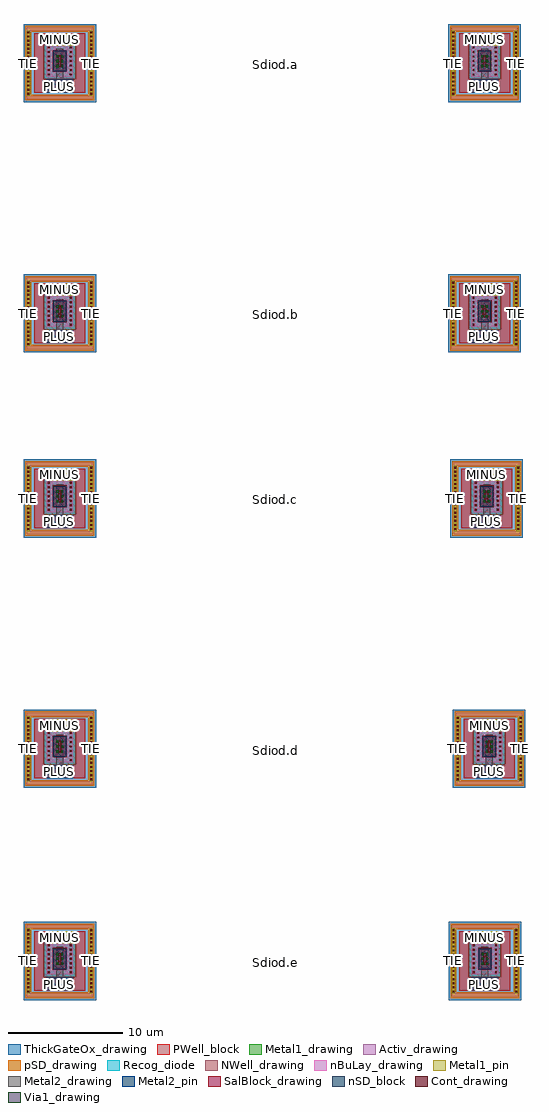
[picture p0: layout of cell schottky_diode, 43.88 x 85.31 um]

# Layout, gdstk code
import gdstk
lib = gdstk.Library(unit=1e-6, precision=1e-09)
def R(c, l, rs):  # rectangles x0, y0, x1, y1
    for r in rs: c.add(gdstk.rectangle(r[:2], r[2:], *l))
def A(c, l, x, y, w, h, nx, ny, dx, dy):  # array of equal rectangles
    R(c, l, [(x+i*dx, y+j*dy, x+i*dx+w, y+j*dy+h) for i in range(nx) for j in range(ny)])
Activ_drawing = (1, 0)
Cont_drawing = (6, 0)
nSD_block = (7, 21)
Metal1_drawing = (8, 0)
Metal1_pin = (8, 2)
Metal2_drawing = (10, 0)
Metal2_pin = (10, 2)
pSD_drawing = (14, 0)
Via1_drawing = (19, 0)
SalBlock_drawing = (28, 0)
NWell_drawing = (31, 0)
nBuLay_drawing = (32, 0)
ThickGateOx_drawing = (44, 0)
PWell_block = (46, 21)
Recog_diode = (99, 31)

schottky_diode = lib.new_cell('schottky_diode')
R(schottky_diode, Activ_drawing, [(-21.765,-90.29,-15.965,-89.99), (15.395,-90.29,21.195,-89.99), (-21.765,-89.99,-21.465,-84.29), (-16.265,-89.99,-15.965,-84.29), (15.395,-89.99,15.695,-84.29), (20.895,-89.99,21.195,-84.29), (-20.015,-88.31,-17.715,-85.61), (17.145,-88.31,19.445,-85.61), (-21.765,-84.29,-15.965,-83.99), (15.395,-84.29,21.195,-83.99), (-21.765,-71.74,-15.965,-71.44), (15.77,-71.74,21.57,-71.44), (-21.765,-71.44,-21.465,-65.74), (-16.265,-71.44,-15.965,-65.74), (15.77,-71.44,16.07,-65.74), (21.27,-71.44,21.57,-65.74), (-20.015,-69.76,-17.715,-67.06), (17.52,-69.76,19.82,-67.06), (-21.765,-65.74,-15.965,-65.44), (15.77,-65.74,21.57,-65.44), (-21.765,-49.87,-15.965,-49.57), (15.55,-49.87,21.35,-49.57), (-21.765,-49.57,-21.465,-43.87), (-16.265,-49.57,-15.965,-43.87), (15.55,-49.57,15.85,-43.87), (21.05,-49.57,21.35,-43.87), (-20.015,-47.89,-17.715,-45.19), (17.3,-47.89,19.6,-45.19), (-21.765,-43.87,-15.965,-43.57), (15.55,-43.87,21.35,-43.57), (-21.765,-33.695,-15.965,-33.395), (15.37,-33.695,21.17,-33.395), (-21.765,-33.395,-21.465,-27.695), (-16.265,-33.395,-15.965,-27.695), (15.37,-33.395,15.67,-27.695), (20.87,-33.395,21.17,-27.695), (-20.015,-31.715,-17.715,-29.015), (17.12,-31.715,19.42,-29.015), (-21.765,-27.695,-15.965,-27.395), (15.37,-27.695,21.17,-27.395), (-21.765,-11.825,-15.965,-11.525), (15.365,-11.825,21.165,-11.525), (-21.765,-11.525,-21.465,-5.825), (-16.265,-11.525,-15.965,-5.825), (15.365,-11.525,15.665,-5.825), (20.865,-11.525,21.165,-5.825), (-20.015,-9.845,-17.715,-7.145), (17.115,-9.845,19.415,-7.145), (-21.765,-5.825,-15.965,-5.525), (15.365,-5.825,21.165,-5.525)])
A(schottky_diode, Cont_drawing, -21.695, -89.9, 0.16, 0.16, 1, 8, 0, 0.36)
A(schottky_diode, Cont_drawing, -16.195, -89.9, 0.16, 0.16, 1, 8, 0, 0.36)
A(schottky_diode, Cont_drawing, 15.465, -89.9, 0.16, 0.16, 1, 8, 0, 0.36)
A(schottky_diode, Cont_drawing, 20.965, -89.9, 0.16, 0.16, 1, 8, 0, 0.36)
A(schottky_diode, Cont_drawing, -19.915, -88.22, 0.16, 0.16, 1, 5, 0, 0.395)
A(schottky_diode, Cont_drawing, -17.975, -88.22, 0.16, 0.16, 1, 5, 0, 0.395)
A(schottky_diode, Cont_drawing, 17.245, -88.22, 0.16, 0.16, 1, 5, 0, 0.395)
A(schottky_diode, Cont_drawing, 19.185, -88.22, 0.16, 0.16, 1, 5, 0, 0.395)
A(schottky_diode, Cont_drawing, -21.695, -87.025, 0.16, 0.16, 1, 8, 0, 0.355)
A(schottky_diode, Cont_drawing, -16.195, -87.025, 0.16, 0.16, 1, 8, 0, 0.355)
A(schottky_diode, Cont_drawing, 15.465, -87.025, 0.16, 0.16, 1, 8, 0, 0.355)
A(schottky_diode, Cont_drawing, 20.965, -87.025, 0.16, 0.16, 1, 8, 0, 0.355)
A(schottky_diode, Cont_drawing, -21.695, -71.35, 0.16, 0.16, 1, 8, 0, 0.36)
A(schottky_diode, Cont_drawing, -16.195, -71.35, 0.16, 0.16, 1, 8, 0, 0.36)
A(schottky_diode, Cont_drawing, 15.84, -71.35, 0.16, 0.16, 1, 8, 0, 0.36)
A(schottky_diode, Cont_drawing, 21.34, -71.35, 0.16, 0.16, 1, 8, 0, 0.36)
A(schottky_diode, Cont_drawing, -19.915, -69.67, 0.16, 0.16, 1, 5, 0, 0.395)
A(schottky_diode, Cont_drawing, -17.975, -69.67, 0.16, 0.16, 1, 5, 0, 0.395)
A(schottky_diode, Cont_drawing, 17.62, -69.67, 0.16, 0.16, 1, 5, 0, 0.395)
A(schottky_diode, Cont_drawing, 19.56, -69.67, 0.16, 0.16, 1, 5, 0, 0.395)
A(schottky_diode, Cont_drawing, -21.695, -68.475, 0.16, 0.16, 1, 8, 0, 0.355)
A(schottky_diode, Cont_drawing, -16.195, -68.475, 0.16, 0.16, 1, 8, 0, 0.355)
A(schottky_diode, Cont_drawing, 15.84, -68.475, 0.16, 0.16, 1, 8, 0, 0.355)
A(schottky_diode, Cont_drawing, 21.34, -68.475, 0.16, 0.16, 1, 8, 0, 0.355)
A(schottky_diode, Cont_drawing, -21.695, -49.48, 0.16, 0.16, 1, 8, 0, 0.36)
A(schottky_diode, Cont_drawing, -16.195, -49.48, 0.16, 0.16, 1, 8, 0, 0.36)
A(schottky_diode, Cont_drawing, 15.62, -49.48, 0.16, 0.16, 1, 8, 0, 0.36)
A(schottky_diode, Cont_drawing, 21.12, -49.48, 0.16, 0.16, 1, 8, 0, 0.36)
A(schottky_diode, Cont_drawing, -19.915, -47.8, 0.16, 0.16, 1, 5, 0, 0.395)
A(schottky_diode, Cont_drawing, -17.975, -47.8, 0.16, 0.16, 1, 5, 0, 0.395)
A(schottky_diode, Cont_drawing, 17.4, -47.8, 0.16, 0.16, 1, 5, 0, 0.395)
A(schottky_diode, Cont_drawing, 19.34, -47.8, 0.16, 0.16, 1, 5, 0, 0.395)
A(schottky_diode, Cont_drawing, -21.695, -46.605, 0.16, 0.16, 1, 8, 0, 0.355)
A(schottky_diode, Cont_drawing, -16.195, -46.605, 0.16, 0.16, 1, 8, 0, 0.355)
A(schottky_diode, Cont_drawing, 15.62, -46.605, 0.16, 0.16, 1, 8, 0, 0.355)
A(schottky_diode, Cont_drawing, 21.12, -46.605, 0.16, 0.16, 1, 8, 0, 0.355)
A(schottky_diode, Cont_drawing, -21.695, -33.305, 0.16, 0.16, 1, 8, 0, 0.36)
A(schottky_diode, Cont_drawing, -16.195, -33.305, 0.16, 0.16, 1, 8, 0, 0.36)
A(schottky_diode, Cont_drawing, 15.44, -33.305, 0.16, 0.16, 1, 8, 0, 0.36)
A(schottky_diode, Cont_drawing, 20.94, -33.305, 0.16, 0.16, 1, 8, 0, 0.36)
A(schottky_diode, Cont_drawing, -19.915, -31.625, 0.16, 0.16, 1, 5, 0, 0.395)
A(schottky_diode, Cont_drawing, -17.975, -31.625, 0.16, 0.16, 1, 5, 0, 0.395)
A(schottky_diode, Cont_drawing, 17.22, -31.625, 0.16, 0.16, 1, 5, 0, 0.395)
A(schottky_diode, Cont_drawing, 19.16, -31.625, 0.16, 0.16, 1, 5, 0, 0.395)
A(schottky_diode, Cont_drawing, -21.695, -30.43, 0.16, 0.16, 1, 8, 0, 0.355)
A(schottky_diode, Cont_drawing, -16.195, -30.43, 0.16, 0.16, 1, 8, 0, 0.355)
A(schottky_diode, Cont_drawing, 15.44, -30.43, 0.16, 0.16, 1, 8, 0, 0.355)
A(schottky_diode, Cont_drawing, 20.94, -30.43, 0.16, 0.16, 1, 8, 0, 0.355)
A(schottky_diode, Cont_drawing, -21.695, -11.435, 0.16, 0.16, 1, 8, 0, 0.36)
A(schottky_diode, Cont_drawing, -16.195, -11.435, 0.16, 0.16, 1, 8, 0, 0.36)
A(schottky_diode, Cont_drawing, 15.435, -11.435, 0.16, 0.16, 1, 8, 0, 0.36)
A(schottky_diode, Cont_drawing, 20.935, -11.435, 0.16, 0.16, 1, 8, 0, 0.36)
A(schottky_diode, Cont_drawing, -19.915, -9.755, 0.16, 0.16, 1, 5, 0, 0.395)
A(schottky_diode, Cont_drawing, -17.975, -9.755, 0.16, 0.16, 1, 5, 0, 0.395)
A(schottky_diode, Cont_drawing, 17.215, -9.755, 0.16, 0.16, 1, 5, 0, 0.395)
A(schottky_diode, Cont_drawing, 19.155, -9.755, 0.16, 0.16, 1, 5, 0, 0.395)
A(schottky_diode, Cont_drawing, -21.695, -8.56, 0.16, 0.16, 1, 8, 0, 0.355)
A(schottky_diode, Cont_drawing, -16.195, -8.56, 0.16, 0.16, 1, 8, 0, 0.355)
A(schottky_diode, Cont_drawing, 15.435, -8.56, 0.16, 0.16, 1, 8, 0, 0.355)
A(schottky_diode, Cont_drawing, 20.935, -8.56, 0.16, 0.16, 1, 8, 0, 0.355)
R(schottky_diode, Cont_drawing, [(-19.015,-87.46,-18.715,-86.46), (18.145,-87.46,18.445,-86.465), (-19.915,-86.25,-19.755,-86.09), (-17.975,-86.25,-17.815,-86.09), (17.245,-86.25,17.405,-86.09), (19.185,-86.25,19.345,-86.09), (-19.915,-85.86,-19.755,-85.7), (-17.975,-85.86,-17.815,-85.7), (17.245,-85.86,17.405,-85.7), (19.185,-85.86,19.345,-85.7), (-19.015,-68.91,-18.715,-67.91), (18.52,-68.91,18.815,-67.91), (-19.915,-67.7,-19.755,-67.54), (-17.975,-67.7,-17.815,-67.54), (17.62,-67.7,17.78,-67.54), (19.56,-67.7,19.72,-67.54), (-19.915,-67.31,-19.755,-67.15), (-17.975,-67.31,-17.815,-67.15), (17.62,-67.31,17.78,-67.15), (19.56,-67.31,19.72,-67.15), (-19.015,-47.04,-18.715,-46.04), (18.3,-47.04,18.6,-46.04), (-19.915,-45.83,-19.755,-45.67), (-17.975,-45.83,-17.815,-45.67), (17.4,-45.83,17.56,-45.67), (19.34,-45.83,19.5,-45.67), (-19.915,-45.44,-19.755,-45.28), (-17.975,-45.44,-17.815,-45.28), (17.4,-45.44,17.56,-45.28), (19.34,-45.44,19.5,-45.28), (-19.015,-30.865,-18.715,-29.865), (18.12,-30.865,18.42,-29.865), (-19.915,-29.655,-19.755,-29.495), (-17.975,-29.655,-17.815,-29.495), (17.22,-29.655,17.38,-29.495), (19.16,-29.655,19.32,-29.495), (-19.915,-29.265,-19.755,-29.105), (-17.975,-29.265,-17.815,-29.105), (17.22,-29.265,17.38,-29.105), (19.16,-29.265,19.32,-29.105), (-19.015,-8.995,-18.715,-7.995), (18.115,-8.995,18.415,-7.995), (-19.915,-7.785,-19.755,-7.625), (-17.975,-7.785,-17.815,-7.625), (17.215,-7.785,17.375,-7.625), (19.155,-7.785,19.315,-7.625), (-19.915,-7.395,-19.755,-7.235), (-17.975,-7.395,-17.815,-7.235), (17.215,-7.395,17.375,-7.235), (19.155,-7.395,19.315,-7.235)])
R(schottky_diode, nSD_block, [(-19.415,-87.86,-18.315,-86.06), (17.745,-87.86,18.845,-86.06), (-19.415,-69.31,-18.315,-67.51), (18.12,-69.31,19.22,-67.51), (-19.415,-47.44,-18.315,-45.64), (17.9,-47.44,19,-45.64), (17.72,-31.27,18.82,-29.46), (-19.415,-31.265,-18.315,-29.465), (-19.415,-9.395,-18.315,-7.595), (17.715,-9.395,18.815,-7.595)])
R(schottky_diode, Metal1_drawing, [(-21.765,-89.99,-21.465,-84.29), (-16.265,-89.99,-15.965,-84.29), (15.395,-89.99,15.695,-84.29), (20.895,-89.99,21.195,-84.29), (-20.015,-88.31,-19.975,-85.61), (-19.975,-88.31,-19.695,-85.61), (-18.035,-88.31,-17.755,-85.61), (-17.755,-88.31,-17.715,-85.61), (17.145,-88.31,17.185,-85.61), (17.185,-88.31,17.465,-85.61), (19.125,-88.31,19.405,-85.61), (19.405,-88.31,19.445,-85.61), (-19.065,-87.53,-18.665,-86.39), (18.095,-87.53,18.495,-86.39), (-20.015,-85.61,-17.715,-84.555), (17.145,-85.61,19.445,-84.555), (-21.765,-71.44,-21.465,-65.74), (-16.265,-71.44,-15.965,-65.74), (15.77,-71.44,16.07,-65.74), (21.27,-71.44,21.57,-65.74), (-20.015,-69.76,-19.975,-67.06), (-19.975,-69.76,-19.695,-67.06), (-18.035,-69.76,-17.755,-67.06), (-17.755,-69.76,-17.715,-67.06), (17.52,-69.76,17.56,-67.06), (17.56,-69.76,17.84,-67.06), (19.5,-69.76,19.78,-67.06), (19.78,-69.76,19.82,-67.06), (-19.065,-68.98,-18.665,-67.84), (18.47,-68.98,18.87,-67.84), (-20.015,-67.06,-17.715,-66.005), (17.52,-67.06,19.82,-66.005), (-21.765,-49.57,-21.465,-43.87), (-16.265,-49.57,-15.965,-43.87), (15.55,-49.57,15.85,-43.87), (21.05,-49.57,21.35,-43.87), (-20.015,-47.89,-19.975,-45.19), (-19.975,-47.89,-19.695,-45.19), (-18.035,-47.89,-17.755,-45.19), (-17.755,-47.89,-17.715,-45.19), (17.3,-47.89,17.34,-45.19), (17.34,-47.89,17.62,-45.19), (19.28,-47.89,19.56,-45.19), (19.56,-47.89,19.6,-45.19), (-19.065,-47.11,-18.665,-45.97), (18.25,-47.11,18.65,-45.97), (-20.015,-45.19,-17.715,-44.135), (17.3,-45.19,19.6,-44.135), (-21.765,-33.395,-21.465,-27.695), (-16.265,-33.395,-15.965,-27.695), (15.37,-33.395,15.67,-27.695), (20.87,-33.395,21.17,-27.695), (-20.015,-31.715,-19.975,-29.015), (-19.975,-31.715,-19.695,-29.015), (-18.035,-31.715,-17.755,-29.015), (-17.755,-31.715,-17.715,-29.015), (17.12,-31.715,17.16,-29.015), (17.16,-31.715,17.44,-29.015), (19.1,-31.715,19.38,-29.015), (19.38,-31.715,19.42,-29.015), (-19.065,-30.935,-18.665,-29.795), (18.07,-30.935,18.47,-29.795), (-20.015,-29.015,-17.715,-27.96), (17.12,-29.015,19.42,-27.96), (-21.765,-11.525,-21.465,-5.825), (-16.265,-11.525,-15.965,-5.825), (15.365,-11.525,15.665,-5.825), (20.865,-11.525,21.165,-5.825), (-20.015,-9.845,-19.975,-7.145), (-19.975,-9.845,-19.695,-7.145), (-18.035,-9.845,-17.755,-7.145), (-17.755,-9.845,-17.715,-7.145), (17.115,-9.845,17.155,-7.145), (17.155,-9.845,17.435,-7.145), (19.095,-9.845,19.375,-7.145), (19.375,-9.845,19.415,-7.145), (-19.065,-9.065,-18.665,-7.925), (18.065,-9.065,18.465,-7.925), (-20.015,-7.145,-17.715,-6.09), (17.115,-7.145,19.415,-6.09)])
R(schottky_diode, Metal1_pin, [(-21.765,-89.99,-21.465,-84.29), (-16.265,-89.99,-15.965,-84.29), (15.395,-89.99,15.695,-84.29), (20.895,-89.99,21.195,-84.29), (-20.015,-85.61,-17.715,-84.555), (17.145,-85.61,19.445,-84.555), (-21.765,-71.44,-21.465,-65.74), (-16.265,-71.44,-15.965,-65.74), (15.77,-71.44,16.07,-65.74), (21.27,-71.44,21.57,-65.74), (-20.015,-67.06,-17.715,-66.005), (17.52,-67.06,19.82,-66.005), (-21.765,-49.57,-21.465,-43.87), (-16.265,-49.57,-15.965,-43.87), (15.55,-49.57,15.85,-43.87), (21.05,-49.57,21.35,-43.87), (-20.015,-45.19,-17.715,-44.135), (17.3,-45.19,19.6,-44.135), (-21.765,-33.395,-21.465,-27.695), (-16.265,-33.395,-15.965,-27.695), (15.37,-33.395,15.67,-27.695), (20.87,-33.395,21.17,-27.695), (-20.015,-29.015,-17.715,-27.96), (17.12,-29.015,19.42,-27.96), (-21.765,-11.525,-21.465,-5.825), (-16.265,-11.525,-15.965,-5.825), (15.365,-11.525,15.665,-5.825), (20.865,-11.525,21.165,-5.825), (-20.015,-7.145,-17.715,-6.09), (17.115,-7.145,19.415,-6.09)])
R(schottky_diode, Metal2_drawing, [(-20.045,-89.725,-17.685,-88.605), (17.115,-89.725,19.475,-88.605), (-19.17,-88.605,-18.56,-85.905), (17.99,-88.605,18.6,-85.905), (-19.175,-87.49,-18.965,-86.43), (-18.765,-87.49,-18.555,-86.43), (17.985,-87.49,18.195,-86.43), (18.395,-87.49,18.605,-86.43), (-20.045,-71.175,-17.685,-70.055), (17.49,-71.175,19.85,-70.055), (-19.17,-70.055,-18.56,-67.355), (18.365,-70.055,18.975,-67.355), (-19.175,-68.94,-18.965,-67.88), (-18.765,-68.94,-18.555,-67.88), (18.36,-68.94,18.57,-67.88), (18.77,-68.94,18.98,-67.88), (-20.045,-49.305,-17.685,-48.185), (17.27,-49.305,19.63,-48.185), (-19.17,-48.185,-18.56,-45.485), (18.145,-48.185,18.755,-45.485), (-19.175,-47.07,-18.965,-46.01), (-18.765,-47.07,-18.555,-46.01), (18.14,-47.07,18.35,-46.01), (18.55,-47.07,18.76,-46.01), (-20.045,-33.13,-17.685,-32.01), (17.09,-33.13,19.45,-32.01), (-19.17,-32.01,-18.56,-29.31), (17.965,-32.01,18.575,-29.31), (-19.175,-30.895,-18.965,-29.835), (-18.765,-30.895,-18.555,-29.835), (17.96,-30.895,18.17,-29.835), (18.37,-30.895,18.58,-29.835), (-20.045,-11.26,-17.685,-10.14), (17.085,-11.26,19.445,-10.14), (-19.17,-10.14,-18.56,-7.44), (17.96,-10.14,18.57,-7.44), (-19.175,-9.025,-18.965,-7.965), (-18.765,-9.025,-18.555,-7.965), (17.955,-9.025,18.165,-7.965), (18.365,-9.025,18.575,-7.965)])
R(schottky_diode, Metal2_pin, [(-20.045,-89.725,-17.685,-88.605), (17.115,-89.725,19.475,-88.605), (-20.045,-71.175,-17.685,-70.055), (17.49,-71.175,19.85,-70.055), (-20.045,-49.305,-17.685,-48.185), (17.27,-49.305,19.63,-48.185), (-20.045,-33.13,-17.685,-32.01), (17.09,-33.13,19.45,-32.01), (-20.045,-11.26,-17.685,-10.14), (17.085,-11.26,19.445,-10.14)])
R(schottky_diode, pSD_drawing, [(-21.865,-90.39,-15.865,-89.89), (15.295,-90.39,21.295,-89.89), (-21.865,-89.89,-21.365,-84.39), (-16.365,-89.89,-15.865,-84.39), (15.295,-89.89,15.795,-84.39), (20.795,-89.89,21.295,-84.39), (-21.865,-84.39,-15.865,-83.89), (15.295,-84.39,21.295,-83.89), (-21.865,-71.84,-15.865,-71.34), (15.67,-71.84,21.67,-71.34), (-21.865,-71.34,-21.365,-65.84), (-16.365,-71.34,-15.865,-65.84), (15.67,-71.34,16.17,-65.84), (21.17,-71.34,21.67,-65.84), (-21.865,-65.84,-15.865,-65.34), (15.67,-65.84,21.67,-65.34), (-21.865,-49.97,-15.865,-49.47), (15.45,-49.97,21.45,-49.47), (-21.865,-49.47,-21.365,-43.97), (-16.365,-49.47,-15.865,-43.97), (15.45,-49.47,15.95,-43.97), (20.95,-49.47,21.45,-43.97), (-21.865,-43.97,-15.865,-43.47), (15.45,-43.97,21.45,-43.47), (-21.865,-33.795,-15.865,-33.295), (15.27,-33.795,21.27,-33.295), (-21.865,-33.295,-21.365,-27.795), (-16.365,-33.295,-15.865,-27.795), (15.27,-33.295,15.77,-27.795), (20.77,-33.295,21.27,-27.795), (-21.865,-27.795,-15.865,-27.295), (15.27,-27.795,21.27,-27.295), (-21.865,-11.925,-15.865,-11.425), (15.265,-11.925,21.265,-11.425), (-21.865,-11.425,-21.365,-5.925), (-16.365,-11.425,-15.865,-5.925), (15.265,-11.425,15.765,-5.925), (20.765,-11.425,21.265,-5.925), (-21.865,-5.925,-15.865,-5.425), (15.265,-5.925,21.265,-5.425)])
A(schottky_diode, Via1_drawing, -19.165, -87.48, 0.19, 0.19, 1, 3, 0, 0.425)
A(schottky_diode, Via1_drawing, -18.755, -87.48, 0.19, 0.19, 1, 3, 0, 0.425)
A(schottky_diode, Via1_drawing, 17.995, -87.48, 0.19, 0.19, 1, 3, 0, 0.425)
A(schottky_diode, Via1_drawing, 18.405, -87.48, 0.19, 0.19, 1, 3, 0, 0.425)
A(schottky_diode, Via1_drawing, -19.165, -68.93, 0.19, 0.19, 1, 3, 0, 0.425)
A(schottky_diode, Via1_drawing, -18.755, -68.93, 0.19, 0.19, 1, 3, 0, 0.425)
A(schottky_diode, Via1_drawing, 18.37, -68.93, 0.19, 0.19, 1, 3, 0, 0.425)
A(schottky_diode, Via1_drawing, 18.78, -68.93, 0.19, 0.19, 1, 3, 0, 0.425)
A(schottky_diode, Via1_drawing, -19.165, -47.06, 0.19, 0.19, 1, 3, 0, 0.425)
A(schottky_diode, Via1_drawing, -18.755, -47.06, 0.19, 0.19, 1, 3, 0, 0.425)
A(schottky_diode, Via1_drawing, 18.15, -47.06, 0.19, 0.19, 1, 3, 0, 0.425)
A(schottky_diode, Via1_drawing, 18.56, -47.06, 0.19, 0.19, 1, 3, 0, 0.425)
A(schottky_diode, Via1_drawing, -19.165, -30.885, 0.19, 0.19, 1, 3, 0, 0.425)
A(schottky_diode, Via1_drawing, -18.755, -30.885, 0.19, 0.19, 1, 3, 0, 0.425)
A(schottky_diode, Via1_drawing, 17.97, -30.885, 0.19, 0.19, 1, 3, 0, 0.425)
A(schottky_diode, Via1_drawing, 18.38, -30.885, 0.19, 0.19, 1, 3, 0, 0.425)
A(schottky_diode, Via1_drawing, -19.165, -9.015, 0.19, 0.19, 1, 3, 0, 0.425)
A(schottky_diode, Via1_drawing, -18.755, -9.015, 0.19, 0.19, 1, 3, 0, 0.425)
A(schottky_diode, Via1_drawing, 17.965, -9.015, 0.19, 0.19, 1, 3, 0, 0.425)
A(schottky_diode, Via1_drawing, 18.375, -9.015, 0.19, 0.19, 1, 3, 0, 0.425)
R(schottky_diode, SalBlock_drawing, [(-19.465,-87.91,-18.265,-86.01), (17.695,-87.91,18.895,-86.01), (-19.465,-69.36,-18.265,-67.46), (18.07,-69.36,19.27,-67.46), (-19.465,-47.49,-18.265,-45.59), (17.85,-47.49,19.05,-45.58), (-19.465,-31.315,-18.265,-29.415), (17.67,-31.315,18.87,-29.415), (-19.465,-9.445,-18.265,-7.545), (17.665,-9.445,18.865,-7.545)])
R(schottky_diode, NWell_drawing, [(-20.265,-88.56,-17.465,-87.71), (16.895,-88.56,19.695,-87.71), (-20.265,-87.71,-19.265,-86.21), (-18.465,-87.71,-17.465,-86.21), (16.895,-87.71,17.895,-86.21), (18.695,-87.71,19.695,-86.21), (-20.265,-86.21,-17.465,-85.36), (16.895,-86.21,19.695,-85.36), (-20.265,-70.01,-17.465,-69.16), (17.27,-70.01,20.07,-69.16), (-20.265,-69.16,-19.265,-67.66), (-18.465,-69.16,-17.465,-67.66), (17.27,-69.16,18.27,-67.66), (19.07,-69.16,20.07,-67.66), (-20.265,-67.66,-17.465,-66.81), (17.27,-67.66,20.07,-66.81), (-20.265,-48.14,-17.465,-47.29), (17.05,-48.14,19.85,-47.29), (-20.265,-47.29,-19.265,-45.79), (-18.465,-47.29,-17.465,-45.79), (17.05,-47.29,18.05,-45.79), (18.85,-47.29,19.85,-45.79), (-20.265,-45.79,-17.465,-44.94), (17.05,-45.79,19.85,-44.94), (-20.265,-31.965,-17.465,-31.115), (16.87,-31.965,19.67,-31.115), (-20.265,-31.115,-19.265,-29.615), (-18.465,-31.115,-17.465,-29.615), (16.87,-31.115,17.87,-29.615), (18.67,-31.115,19.67,-29.615), (-20.265,-29.615,-17.465,-28.765), (16.87,-29.615,19.67,-28.765), (-20.265,-10.095,-17.465,-9.245), (16.865,-10.095,19.665,-9.245), (-20.265,-9.245,-19.265,-7.745), (-18.465,-9.245,-17.465,-7.745), (16.865,-9.245,17.865,-7.745), (18.66,-9.245,19.665,-7.745), (16.865,-7.75,19.665,-6.895), (-20.265,-7.745,-17.465,-6.895)])
R(schottky_diode, nBuLay_drawing, [(-20.015,-88.33,-17.715,-85.59), (17.145,-88.33,19.445,-85.59), (-20.015,-69.78,-17.715,-67.04), (17.52,-69.78,19.82,-67.04), (-20.015,-47.91,-17.715,-45.17), (17.3,-47.91,19.6,-45.17), (-20.015,-31.735,-17.715,-28.995), (17.12,-31.735,19.42,-28.995), (-20.015,-9.865,-17.715,-7.125), (17.115,-9.865,19.415,-7.125)])
R(schottky_diode, ThickGateOx_drawing, [(-22.035,-90.56,-15.695,-83.72), (15.125,-90.56,21.465,-83.72), (-22.035,-72.01,-15.695,-65.17), (15.5,-72.01,21.84,-65.17), (-22.035,-50.14,-15.695,-43.3), (15.28,-50.14,21.62,-43.3), (-22.035,-33.965,-15.695,-27.125), (15.1,-33.965,21.44,-27.125), (-22.035,-12.095,-15.695,-5.255), (15.095,-12.095,21.435,-5.255)])
R(schottky_diode, PWell_block, [(-21.095,-89.75,-16.635,-88.56), (16.065,-89.75,20.525,-88.56), (-21.095,-88.56,-20.265,-85.36), (-17.465,-88.56,-16.635,-85.36), (16.065,-88.56,16.895,-85.36), (19.695,-88.56,20.525,-85.36), (-19.265,-87.71,-18.465,-86.21), (17.895,-87.71,18.695,-86.21), (-21.095,-85.36,-16.635,-84.53), (16.065,-85.36,20.525,-84.53), (-21.095,-71.2,-16.635,-70.01), (16.44,-71.2,20.9,-70.01), (-21.095,-70.01,-20.265,-66.81), (-17.465,-70.01,-16.635,-66.81), (16.44,-70.01,17.27,-66.81), (20.07,-70.01,20.9,-66.81), (-19.265,-69.16,-18.465,-67.66), (18.27,-69.16,19.07,-67.66), (-21.095,-66.81,-16.635,-65.98), (16.44,-66.81,20.9,-65.98), (-21.095,-49.33,-16.635,-48.14), (16.22,-49.33,20.68,-48.14), (-21.095,-48.14,-20.265,-44.94), (-17.465,-48.14,-16.635,-44.94), (16.22,-48.14,17.05,-44.94), (19.85,-48.14,20.68,-44.94), (-19.265,-47.29,-18.465,-45.79), (18.05,-47.29,18.85,-45.79), (-21.095,-44.94,-16.635,-44.11), (16.22,-44.94,20.68,-44.11), (-21.095,-33.155,-16.635,-31.965), (16.04,-33.155,20.5,-31.965), (-21.095,-31.965,-20.265,-28.765), (-17.465,-31.965,-16.635,-28.765), (16.04,-31.965,16.87,-28.765), (19.67,-31.965,20.5,-28.765), (-19.265,-31.115,-18.465,-29.615), (17.87,-31.115,18.67,-29.615), (-21.095,-28.765,-16.635,-27.935), (16.04,-28.765,20.5,-27.935), (-21.095,-11.285,-16.635,-10.095), (16.035,-11.285,20.495,-10.095), (-21.095,-10.095,-20.265,-6.895), (-17.465,-10.095,-16.635,-6.895), (16.035,-10.095,16.865,-6.895), (19.665,-10.095,20.495,-6.895), (17.87,-9.25,18.66,-7.74), (-19.265,-9.245,-18.465,-7.745), (-21.095,-6.895,-16.635,-6.065), (16.035,-6.895,20.495,-6.065)])
R(schottky_diode, Recog_diode, [(-20.265,-88.56,-17.465,-85.36), (16.895,-88.56,19.695,-85.36), (-20.265,-70.01,-17.465,-66.81), (17.27,-70.01,20.07,-66.81), (-20.265,-48.14,-17.465,-44.94), (17.05,-48.14,19.85,-44.94), (-20.265,-31.965,-17.465,-28.765), (16.87,-31.965,19.67,-28.765), (-20.265,-10.095,-17.465,-6.895), (16.865,-10.095,19.665,-6.895)])
schottky_diode.add(gdstk.FlexPath([(-19.07,-87.49),(-19.07,-86.43)], 0.21, ends="flush", simple_path=True, layer=10, datatype=0))  # Metal2_drawing
schottky_diode.add(gdstk.FlexPath([(-18.66,-87.49),(-18.66,-86.43)], 0.21, ends="flush", simple_path=True, layer=10, datatype=0))  # Metal2_drawing
schottky_diode.add(gdstk.FlexPath([(-19.07,-68.94),(-19.07,-67.88)], 0.21, ends="flush", simple_path=True, layer=10, datatype=0))  # Metal2_drawing
schottky_diode.add(gdstk.FlexPath([(-18.66,-68.94),(-18.66,-67.88)], 0.21, ends="flush", simple_path=True, layer=10, datatype=0))  # Metal2_drawing
schottky_diode.add(gdstk.FlexPath([(-19.07,-47.07),(-19.07,-46.01)], 0.21, ends="flush", simple_path=True, layer=10, datatype=0))  # Metal2_drawing
schottky_diode.add(gdstk.FlexPath([(-18.66,-47.07),(-18.66,-46.01)], 0.21, ends="flush", simple_path=True, layer=10, datatype=0))  # Metal2_drawing
schottky_diode.add(gdstk.FlexPath([(-19.07,-30.895),(-19.07,-29.835)], 0.21, ends="flush", simple_path=True, layer=10, datatype=0))  # Metal2_drawing
schottky_diode.add(gdstk.FlexPath([(-18.66,-30.895),(-18.66,-29.835)], 0.21, ends="flush", simple_path=True, layer=10, datatype=0))  # Metal2_drawing
schottky_diode.add(gdstk.FlexPath([(-19.07,-9.025),(-19.07,-7.965)], 0.21, ends="flush", simple_path=True, layer=10, datatype=0))  # Metal2_drawing
schottky_diode.add(gdstk.FlexPath([(-18.66,-9.025),(-18.66,-7.965)], 0.21, ends="flush", simple_path=True, layer=10, datatype=0))  # Metal2_drawing
schottky_diode.add(gdstk.FlexPath([(18.06,-9.025),(18.06,-7.965)], 0.21, ends="flush", simple_path=True, layer=10, datatype=0))  # Metal2_drawing
schottky_diode.add(gdstk.FlexPath([(18.47,-9.025),(18.47,-7.965)], 0.21, ends="flush", simple_path=True, layer=10, datatype=0))  # Metal2_drawing
schottky_diode.add(gdstk.FlexPath([(18.065,-30.895),(18.065,-29.835)], 0.21, ends="flush", simple_path=True, layer=10, datatype=0))  # Metal2_drawing
schottky_diode.add(gdstk.FlexPath([(18.475,-30.895),(18.475,-29.835)], 0.21, ends="flush", simple_path=True, layer=10, datatype=0))  # Metal2_drawing
schottky_diode.add(gdstk.FlexPath([(18.245,-47.07),(18.245,-46.01)], 0.21, ends="flush", simple_path=True, layer=10, datatype=0))  # Metal2_drawing
schottky_diode.add(gdstk.FlexPath([(18.655,-47.07),(18.655,-46.01)], 0.21, ends="flush", simple_path=True, layer=10, datatype=0))  # Metal2_drawing
schottky_diode.add(gdstk.FlexPath([(18.465,-68.94),(18.465,-67.88)], 0.21, ends="flush", simple_path=True, layer=10, datatype=0))  # Metal2_drawing
schottky_diode.add(gdstk.FlexPath([(18.875,-68.94),(18.875,-67.88)], 0.21, ends="flush", simple_path=True, layer=10, datatype=0))  # Metal2_drawing
schottky_diode.add(gdstk.FlexPath([(18.09,-87.49),(18.09,-86.43)], 0.21, ends="flush", simple_path=True, layer=10, datatype=0))  # Metal2_drawing
schottky_diode.add(gdstk.FlexPath([(18.5,-87.49),(18.5,-86.43)], 0.21, ends="flush", simple_path=True, layer=10, datatype=0))  # Metal2_drawing
schottky_diode.add(gdstk.FlexPath([(-19.07,-87.53),(-19.07,-86.39)], 0.29, ends="flush", simple_path=True, layer=8, datatype=0))  # Metal1_drawing
schottky_diode.add(gdstk.FlexPath([(-18.66,-87.53),(-18.66,-86.39)], 0.29, ends="flush", simple_path=True, layer=8, datatype=0))  # Metal1_drawing
schottky_diode.add(gdstk.FlexPath([(-19.835,-88.31),(-19.835,-85.61)], 0.28, ends="flush", simple_path=True, layer=8, datatype=0))  # Metal1_drawing
schottky_diode.add(gdstk.FlexPath([(-17.895,-88.31),(-17.895,-85.61)], 0.28, ends="flush", simple_path=True, layer=8, datatype=0))  # Metal1_drawing
schottky_diode.add(gdstk.FlexPath([(-21.615,-89.99),(-21.615,-84.29)], 0.3, ends="flush", simple_path=True, layer=8, datatype=0))  # Metal1_drawing
schottky_diode.add(gdstk.FlexPath([(-16.115,-89.99),(-16.115,-84.29)], 0.3, ends="flush", simple_path=True, layer=8, datatype=0))  # Metal1_drawing
schottky_diode.add(gdstk.FlexPath([(-19.07,-68.98),(-19.07,-67.84)], 0.29, ends="flush", simple_path=True, layer=8, datatype=0))  # Metal1_drawing
schottky_diode.add(gdstk.FlexPath([(-18.66,-68.98),(-18.66,-67.84)], 0.29, ends="flush", simple_path=True, layer=8, datatype=0))  # Metal1_drawing
schottky_diode.add(gdstk.FlexPath([(-19.835,-69.76),(-19.835,-67.06)], 0.28, ends="flush", simple_path=True, layer=8, datatype=0))  # Metal1_drawing
schottky_diode.add(gdstk.FlexPath([(-17.895,-69.76),(-17.895,-67.06)], 0.28, ends="flush", simple_path=True, layer=8, datatype=0))  # Metal1_drawing
schottky_diode.add(gdstk.FlexPath([(-21.615,-71.44),(-21.615,-65.74)], 0.3, ends="flush", simple_path=True, layer=8, datatype=0))  # Metal1_drawing
schottky_diode.add(gdstk.FlexPath([(-16.115,-71.44),(-16.115,-65.74)], 0.3, ends="flush", simple_path=True, layer=8, datatype=0))  # Metal1_drawing
schottky_diode.add(gdstk.FlexPath([(-19.07,-47.11),(-19.07,-45.97)], 0.29, ends="flush", simple_path=True, layer=8, datatype=0))  # Metal1_drawing
schottky_diode.add(gdstk.FlexPath([(-18.66,-47.11),(-18.66,-45.97)], 0.29, ends="flush", simple_path=True, layer=8, datatype=0))  # Metal1_drawing
schottky_diode.add(gdstk.FlexPath([(-19.835,-47.89),(-19.835,-45.19)], 0.28, ends="flush", simple_path=True, layer=8, datatype=0))  # Metal1_drawing
schottky_diode.add(gdstk.FlexPath([(-17.895,-47.89),(-17.895,-45.19)], 0.28, ends="flush", simple_path=True, layer=8, datatype=0))  # Metal1_drawing
schottky_diode.add(gdstk.FlexPath([(-21.615,-49.57),(-21.615,-43.87)], 0.3, ends="flush", simple_path=True, layer=8, datatype=0))  # Metal1_drawing
schottky_diode.add(gdstk.FlexPath([(-16.115,-49.57),(-16.115,-43.87)], 0.3, ends="flush", simple_path=True, layer=8, datatype=0))  # Metal1_drawing
schottky_diode.add(gdstk.FlexPath([(-19.07,-30.935),(-19.07,-29.795)], 0.29, ends="flush", simple_path=True, layer=8, datatype=0))  # Metal1_drawing
schottky_diode.add(gdstk.FlexPath([(-18.66,-30.935),(-18.66,-29.795)], 0.29, ends="flush", simple_path=True, layer=8, datatype=0))  # Metal1_drawing
schottky_diode.add(gdstk.FlexPath([(-19.835,-31.715),(-19.835,-29.015)], 0.28, ends="flush", simple_path=True, layer=8, datatype=0))  # Metal1_drawing
schottky_diode.add(gdstk.FlexPath([(-17.895,-31.715),(-17.895,-29.015)], 0.28, ends="flush", simple_path=True, layer=8, datatype=0))  # Metal1_drawing
schottky_diode.add(gdstk.FlexPath([(-21.615,-33.395),(-21.615,-27.695)], 0.3, ends="flush", simple_path=True, layer=8, datatype=0))  # Metal1_drawing
schottky_diode.add(gdstk.FlexPath([(-16.115,-33.395),(-16.115,-27.695)], 0.3, ends="flush", simple_path=True, layer=8, datatype=0))  # Metal1_drawing
schottky_diode.add(gdstk.FlexPath([(-19.07,-9.065),(-19.07,-7.925)], 0.29, ends="flush", simple_path=True, layer=8, datatype=0))  # Metal1_drawing
schottky_diode.add(gdstk.FlexPath([(-18.66,-9.065),(-18.66,-7.925)], 0.29, ends="flush", simple_path=True, layer=8, datatype=0))  # Metal1_drawing
schottky_diode.add(gdstk.FlexPath([(-19.835,-9.845),(-19.835,-7.145)], 0.28, ends="flush", simple_path=True, layer=8, datatype=0))  # Metal1_drawing
schottky_diode.add(gdstk.FlexPath([(-17.895,-9.845),(-17.895,-7.145)], 0.28, ends="flush", simple_path=True, layer=8, datatype=0))  # Metal1_drawing
schottky_diode.add(gdstk.FlexPath([(-21.615,-11.525),(-21.615,-5.825)], 0.3, ends="flush", simple_path=True, layer=8, datatype=0))  # Metal1_drawing
schottky_diode.add(gdstk.FlexPath([(-16.115,-11.525),(-16.115,-5.825)], 0.3, ends="flush", simple_path=True, layer=8, datatype=0))  # Metal1_drawing
schottky_diode.add(gdstk.FlexPath([(19.235,-9.845),(19.235,-7.145)], 0.28, ends="flush", simple_path=True, layer=8, datatype=0))  # Metal1_drawing
schottky_diode.add(gdstk.FlexPath([(18.47,-9.065),(18.47,-7.925)], 0.29, ends="flush", simple_path=True, layer=8, datatype=0))  # Metal1_drawing
schottky_diode.add(gdstk.FlexPath([(18.06,-9.065),(18.06,-7.925)], 0.29, ends="flush", simple_path=True, layer=8, datatype=0))  # Metal1_drawing
schottky_diode.add(gdstk.FlexPath([(17.295,-9.845),(17.295,-7.145)], 0.28, ends="flush", simple_path=True, layer=8, datatype=0))  # Metal1_drawing
schottky_diode.add(gdstk.FlexPath([(15.515,-11.525),(15.515,-5.825)], 0.3, ends="flush", simple_path=True, layer=8, datatype=0))  # Metal1_drawing
schottky_diode.add(gdstk.FlexPath([(21.015,-11.525),(21.015,-5.825)], 0.3, ends="flush", simple_path=True, layer=8, datatype=0))  # Metal1_drawing
schottky_diode.add(gdstk.FlexPath([(15.52,-33.395),(15.52,-27.695)], 0.3, ends="flush", simple_path=True, layer=8, datatype=0))  # Metal1_drawing
schottky_diode.add(gdstk.FlexPath([(17.3,-31.715),(17.3,-29.015)], 0.28, ends="flush", simple_path=True, layer=8, datatype=0))  # Metal1_drawing
schottky_diode.add(gdstk.FlexPath([(18.065,-30.935),(18.065,-29.795)], 0.29, ends="flush", simple_path=True, layer=8, datatype=0))  # Metal1_drawing
schottky_diode.add(gdstk.FlexPath([(18.475,-30.935),(18.475,-29.795)], 0.29, ends="flush", simple_path=True, layer=8, datatype=0))  # Metal1_drawing
schottky_diode.add(gdstk.FlexPath([(19.24,-31.715),(19.24,-29.015)], 0.28, ends="flush", simple_path=True, layer=8, datatype=0))  # Metal1_drawing
schottky_diode.add(gdstk.FlexPath([(21.02,-33.395),(21.02,-27.695)], 0.3, ends="flush", simple_path=True, layer=8, datatype=0))  # Metal1_drawing
schottky_diode.add(gdstk.FlexPath([(15.7,-49.57),(15.7,-43.87)], 0.3, ends="flush", simple_path=True, layer=8, datatype=0))  # Metal1_drawing
schottky_diode.add(gdstk.FlexPath([(17.48,-47.89),(17.48,-45.19)], 0.28, ends="flush", simple_path=True, layer=8, datatype=0))  # Metal1_drawing
schottky_diode.add(gdstk.FlexPath([(18.245,-47.11),(18.245,-45.97)], 0.29, ends="flush", simple_path=True, layer=8, datatype=0))  # Metal1_drawing
schottky_diode.add(gdstk.FlexPath([(18.655,-47.11),(18.655,-45.97)], 0.29, ends="flush", simple_path=True, layer=8, datatype=0))  # Metal1_drawing
schottky_diode.add(gdstk.FlexPath([(19.42,-47.89),(19.42,-45.19)], 0.28, ends="flush", simple_path=True, layer=8, datatype=0))  # Metal1_drawing
schottky_diode.add(gdstk.FlexPath([(21.2,-49.57),(21.2,-43.87)], 0.3, ends="flush", simple_path=True, layer=8, datatype=0))  # Metal1_drawing
schottky_diode.add(gdstk.FlexPath([(15.92,-71.44),(15.92,-65.74)], 0.3, ends="flush", simple_path=True, layer=8, datatype=0))  # Metal1_drawing
schottky_diode.add(gdstk.FlexPath([(17.7,-69.76),(17.7,-67.06)], 0.28, ends="flush", simple_path=True, layer=8, datatype=0))  # Metal1_drawing
schottky_diode.add(gdstk.FlexPath([(18.465,-68.98),(18.465,-67.84)], 0.29, ends="flush", simple_path=True, layer=8, datatype=0))  # Metal1_drawing
schottky_diode.add(gdstk.FlexPath([(18.875,-68.98),(18.875,-67.84)], 0.29, ends="flush", simple_path=True, layer=8, datatype=0))  # Metal1_drawing
schottky_diode.add(gdstk.FlexPath([(19.64,-69.76),(19.64,-67.06)], 0.28, ends="flush", simple_path=True, layer=8, datatype=0))  # Metal1_drawing
schottky_diode.add(gdstk.FlexPath([(21.42,-71.44),(21.42,-65.74)], 0.3, ends="flush", simple_path=True, layer=8, datatype=0))  # Metal1_drawing
schottky_diode.add(gdstk.FlexPath([(15.545,-89.99),(15.545,-84.29)], 0.3, ends="flush", simple_path=True, layer=8, datatype=0))  # Metal1_drawing
schottky_diode.add(gdstk.FlexPath([(17.325,-88.31),(17.325,-85.61)], 0.28, ends="flush", simple_path=True, layer=8, datatype=0))  # Metal1_drawing
schottky_diode.add(gdstk.FlexPath([(18.09,-87.53),(18.09,-86.39)], 0.29, ends="flush", simple_path=True, layer=8, datatype=0))  # Metal1_drawing
schottky_diode.add(gdstk.FlexPath([(18.5,-87.53),(18.5,-86.39)], 0.29, ends="flush", simple_path=True, layer=8, datatype=0))  # Metal1_drawing
schottky_diode.add(gdstk.FlexPath([(19.265,-88.31),(19.265,-85.61)], 0.28, ends="flush", simple_path=True, layer=8, datatype=0))  # Metal1_drawing
schottky_diode.add(gdstk.FlexPath([(21.045,-89.99),(21.045,-84.29)], 0.3, ends="flush", simple_path=True, layer=8, datatype=0))  # Metal1_drawing
schottky_diode.add(gdstk.Label('PASS', (-12,5), layer=63, texttype=0))
schottky_diode.add(gdstk.Label('Sdiod.a', (0.01,-8.8), layer=63, texttype=0))
schottky_diode.add(gdstk.Label('Sdiod.b', (0.01,-30.67), layer=63, texttype=0))
schottky_diode.add(gdstk.Label('Sdiod.c', (0.01,-46.845), layer=63, texttype=0))
schottky_diode.add(gdstk.Label('Sdiod.d', (0.01,-68.715), layer=63, texttype=0))
schottky_diode.add(gdstk.Label('Sdiod.e', (0.01,-87.265), layer=63, texttype=0))
schottky_diode.add(gdstk.Label('MINUS', (-18.865,-85.083), layer=63, texttype=0))
schottky_diode.add(gdstk.Label('TIE', (-21.615,-87.14), layer=63, texttype=0))
schottky_diode.add(gdstk.Label('TIE', (-16.115,-87.14), layer=63, texttype=0))
schottky_diode.add(gdstk.Label('PLUS', (-18.865,-89.165), layer=63, texttype=0))
schottky_diode.add(gdstk.Label('schottky_nbl1', (-19.447,-88.5), layer=63, texttype=0))
schottky_diode.add(gdstk.Label('MINUS', (-18.865,-66.533), layer=63, texttype=0))
schottky_diode.add(gdstk.Label('TIE', (-21.615,-68.59), layer=63, texttype=0))
schottky_diode.add(gdstk.Label('TIE', (-16.115,-68.59), layer=63, texttype=0))
schottky_diode.add(gdstk.Label('PLUS', (-18.865,-70.615), layer=63, texttype=0))
schottky_diode.add(gdstk.Label('schottky_nbl1', (-19.447,-69.95), layer=63, texttype=0))
schottky_diode.add(gdstk.Label('MINUS', (-18.865,-44.663), layer=63, texttype=0))
schottky_diode.add(gdstk.Label('TIE', (-21.615,-46.72), layer=63, texttype=0))
schottky_diode.add(gdstk.Label('TIE', (-16.115,-46.72), layer=63, texttype=0))
schottky_diode.add(gdstk.Label('PLUS', (-18.865,-48.745), layer=63, texttype=0))
schottky_diode.add(gdstk.Label('schottky_nbl1', (-19.447,-48.08), layer=63, texttype=0))
schottky_diode.add(gdstk.Label('MINUS', (-18.865,-28.488), layer=63, texttype=0))
schottky_diode.add(gdstk.Label('TIE', (-21.615,-30.545), layer=63, texttype=0))
schottky_diode.add(gdstk.Label('TIE', (-16.115,-30.545), layer=63, texttype=0))
schottky_diode.add(gdstk.Label('PLUS', (-18.865,-32.57), layer=63, texttype=0))
schottky_diode.add(gdstk.Label('schottky_nbl1', (-19.447,-31.905), layer=63, texttype=0))
schottky_diode.add(gdstk.Label('MINUS', (-18.865,-6.618), layer=63, texttype=0))
schottky_diode.add(gdstk.Label('TIE', (-21.615,-8.675), layer=63, texttype=0))
schottky_diode.add(gdstk.Label('TIE', (-16.115,-8.675), layer=63, texttype=0))
schottky_diode.add(gdstk.Label('PLUS', (-18.865,-10.7), layer=63, texttype=0))
schottky_diode.add(gdstk.Label('schottky_nbl1', (-19.447,-10.035), layer=63, texttype=0))
schottky_diode.add(gdstk.Label('FAIL', (12,5), layer=63, texttype=0))
schottky_diode.add(gdstk.Label('PLUS', (18.265,-10.7), layer=63, texttype=0))
schottky_diode.add(gdstk.Label('schottky_nbl1', (17.683,-10.035), layer=63, texttype=0))
schottky_diode.add(gdstk.Label('TIE', (15.515,-8.675), layer=63, texttype=0))
schottky_diode.add(gdstk.Label('TIE', (21.015,-8.675), layer=63, texttype=0))
schottky_diode.add(gdstk.Label('MINUS', (18.265,-6.618), layer=63, texttype=0))
schottky_diode.add(gdstk.Label('PLUS', (18.27,-32.57), layer=63, texttype=0))
schottky_diode.add(gdstk.Label('schottky_nbl1', (17.688,-31.905), layer=63, texttype=0))
schottky_diode.add(gdstk.Label('TIE', (21.02,-30.545), layer=63, texttype=0))
schottky_diode.add(gdstk.Label('TIE', (15.52,-30.545), layer=63, texttype=0))
schottky_diode.add(gdstk.Label('MINUS', (18.27,-28.488), layer=63, texttype=0))
schottky_diode.add(gdstk.Label('PLUS', (18.45,-48.745), layer=63, texttype=0))
schottky_diode.add(gdstk.Label('schottky_nbl1', (17.868,-48.08), layer=63, texttype=0))
schottky_diode.add(gdstk.Label('TIE', (21.2,-46.72), layer=63, texttype=0))
schottky_diode.add(gdstk.Label('TIE', (15.7,-46.72), layer=63, texttype=0))
schottky_diode.add(gdstk.Label('MINUS', (18.45,-44.663), layer=63, texttype=0))
schottky_diode.add(gdstk.Label('PLUS', (18.67,-70.615), layer=63, texttype=0))
schottky_diode.add(gdstk.Label('schottky_nbl1', (18.088,-69.95), layer=63, texttype=0))
schottky_diode.add(gdstk.Label('TIE', (21.42,-68.59), layer=63, texttype=0))
schottky_diode.add(gdstk.Label('TIE', (15.92,-68.59), layer=63, texttype=0))
schottky_diode.add(gdstk.Label('MINUS', (18.67,-66.533), layer=63, texttype=0))
schottky_diode.add(gdstk.Label('PLUS', (18.295,-89.165), layer=63, texttype=0))
schottky_diode.add(gdstk.Label('schottky_nbl1', (17.713,-88.5), layer=63, texttype=0))
schottky_diode.add(gdstk.Label('TIE', (21.045,-87.14), layer=63, texttype=0))
schottky_diode.add(gdstk.Label('TIE', (15.545,-87.14), layer=63, texttype=0))
schottky_diode.add(gdstk.Label('MINUS', (18.295,-85.083), layer=63, texttype=0))
schottky_diode.add(gdstk.Label('6.7 Schottky_diode', (0.02,21), layer=63, texttype=0))

lib.write_gds('schottky_diode.gds')
